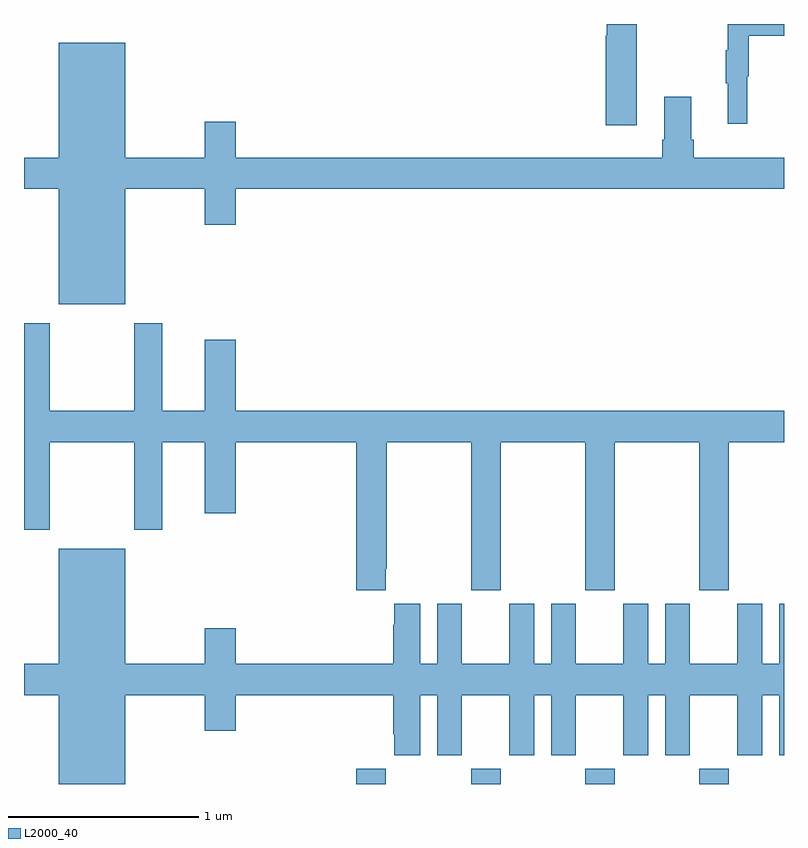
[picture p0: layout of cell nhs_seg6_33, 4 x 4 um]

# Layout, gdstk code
import gdstk
lib = gdstk.Library(unit=1e-6, precision=1e-09)
def R(c, l, rs):  # rectangles x0, y0, x1, y1
    for r in rs: c.add(gdstk.rectangle(r[:2], r[2:], *l))
def A(c, l, x, y, w, h, nx, ny, dx, dy):  # array of equal rectangles
    R(c, l, [(x+i*dx, y+j*dy, x+i*dx+w, y+j*dy+h) for i in range(nx) for j in range(ny)])
def P(c, l, *ps):  # polygons
    for p in ps: c.add(gdstk.Polygon(p, *l))
L2000_40 = (2000, 40)

nhs_seg6_33 = lib.new_cell('nhs_seg6_33')
A(nhs_seg6_33, L2000_40, 113.353, 981.5, 0.155, 0.08, 3, 1, 0.6, 0)
R(nhs_seg6_33, L2000_40, [(112.748,981.5,112.903,981.58)])
P(nhs_seg6_33, L2000_40, [(114.806,985.224),(114.814,985.224),(114.814,985.438),(115,985.438),(115,985.5),(114.704,985.5),(114.704,985.361),(114.693,985.361),(114.693,985.187),(114.704,985.187),(114.704,984.975),(114.806,984.975)],
  [(114.226,985.5),(114.068,985.5),(114.068,985.437),(114.062,985.437),(114.062,984.966),(114.226,984.966)],
  [(111.532,984.632),(111.95,984.632),(111.95,984.444),(112.114,984.444),(112.114,984.632),(115,984.632),(115,984.796),(114.524,984.796),(114.524,984.892),(114.511,984.892),(114.511,985.117),(114.371,985.117),(114.371,984.892),(114.359,984.892),(114.359,984.796),(112.114,984.796),(112.114,984.985),(111.95,984.985),(111.95,984.796),(111.532,984.796),(111.532,985.402),(111.182,985.402),(111.182,984.796),(111,984.796),(111,984.632),(111.182,984.632),(111.182,984.026),(111.532,984.026)],
  [(112.903,982.633),(112.908,982.633),(112.908,983.3),(113.353,983.3),(113.353,982.521),(113.508,982.521),(113.508,983.3),(113.953,983.3),(113.953,982.521),(114.108,982.521),(114.108,983.3),(114.553,983.3),(114.553,982.521),(114.708,982.521),(114.708,983.3),(115,983.3),(115,983.464),(112.114,983.464),(112.114,983.839),(111.95,983.839),(111.95,983.464),(111.727,983.464),(111.727,983.926),(111.58,983.926),(111.58,983.464),(111.135,983.464),(111.135,983.926),(111,983.926),(111,982.839),(111.135,982.839),(111.135,983.3),(111.58,983.3),(111.58,982.839),(111.727,982.839),(111.727,983.3),(111.95,983.3),(111.95,982.926),(112.114,982.926),(112.114,983.3),(112.748,983.3),(112.748,982.521),(112.903,982.521)],
  [(111.532,981.968),(111.95,981.968),(111.95,981.78),(112.114,981.78),(112.114,981.968),(112.943,981.968),(112.943,981.763),(112.949,981.763),(112.949,981.651),(113.086,981.651),(113.086,981.968),(113.174,981.968),(113.174,981.651),(113.305,981.651),(113.305,981.968),(113.555,981.968),(113.555,981.651),(113.686,981.651),(113.686,981.968),(113.774,981.968),(113.774,981.651),(113.905,981.651),(113.905,981.968),(114.155,981.968),(114.155,981.651),(114.286,981.651),(114.286,981.968),(114.374,981.968),(114.374,981.651),(114.505,981.651),(114.505,981.968),(114.755,981.968),(114.755,981.651),(114.886,981.651),(114.886,981.968),(114.974,981.968),(114.974,981.651),(115,981.651),(115,982.45),(114.974,982.45),(114.974,982.132),(114.886,982.132),(114.886,982.45),(114.755,982.45),(114.755,982.132),(114.505,982.132),(114.505,982.45),(114.374,982.45),(114.374,982.132),(114.286,982.132),(114.286,982.45),(114.155,982.45),(114.155,982.132),(113.905,982.132),(113.905,982.45),(113.774,982.45),(113.774,982.132),(113.686,982.132),(113.686,982.45),(113.555,982.45),(113.555,982.132),(113.305,982.132),(113.305,982.45),(113.174,982.45),(113.174,982.132),(113.086,982.132),(113.086,982.45),(112.949,982.45),(112.949,982.337),(112.943,982.337),(112.943,982.132),(112.114,982.132),(112.114,982.321),(111.95,982.321),(111.95,982.132),(111.532,982.132),(111.532,982.738),(111.182,982.738),(111.182,982.132),(111,982.132),(111,981.968),(111.182,981.968),(111.182,981.5),(111.532,981.5)])

lib.write_gds('nhs_seg6_33.gds')
